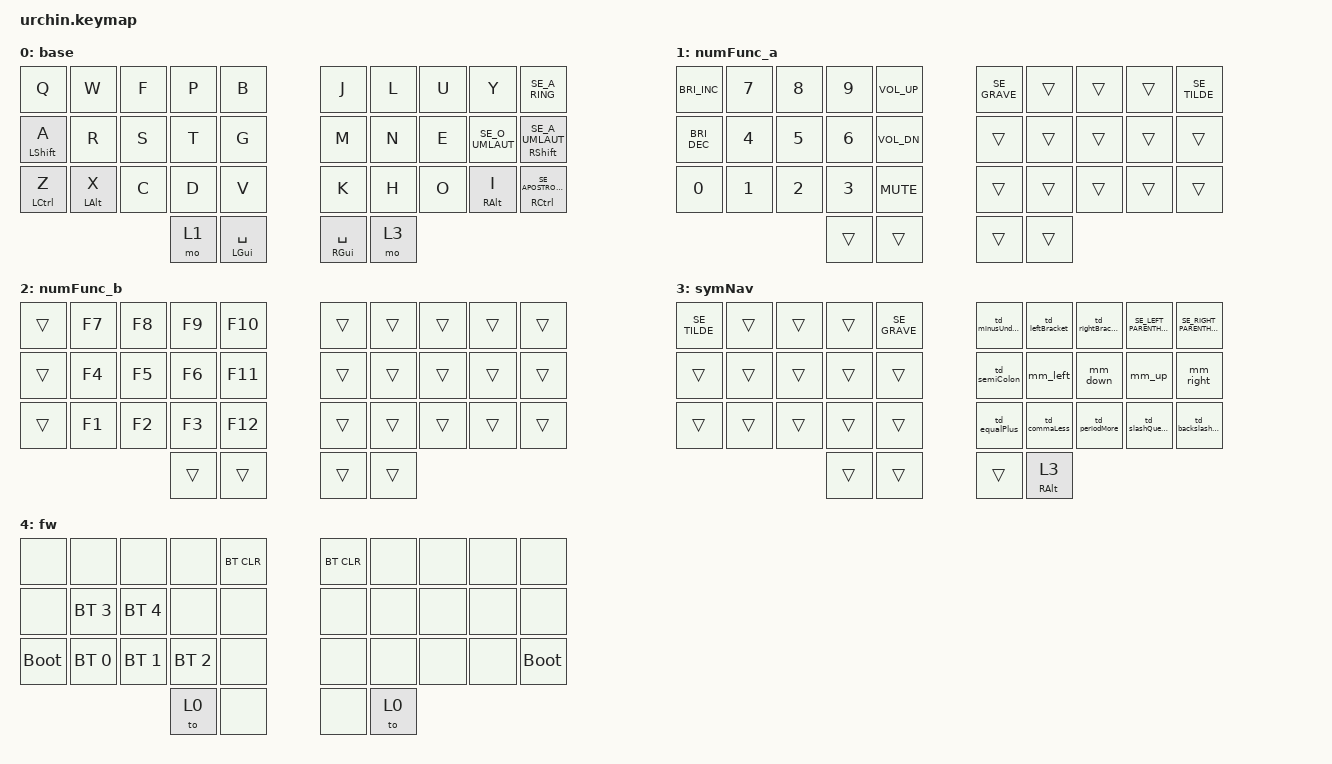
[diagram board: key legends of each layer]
/*
 * Copyright (c) 2020 duckyb
 *
 * SPDX-License-Identifier: MIT
 */

#include <behaviors.dtsi>
#include <dt-bindings/zmk/bt.h>
#include <dt-bindings/zmk/keys.h>
#include "keys_se.h"

// Layer definitions

#define BASE 0
#define SYM 1
#define EXT 2
#define FNC 3
#define SYM2 4
#define ACCENT 5
#define SETTINGS 6

// -----------------

&sk {
    // don't release mods on other mods presses

    ignore-modifiers;
};

&mt { flavor = "tap-preferred"; };

/ {
    behaviors {
        // Enables holding the first mod-tap key
        // by performing a tap-release-hold sequence.
        // To use it: "&qt KEYCODE1 KEYCODE2"

        qt: quick_tap {
            compatible = "zmk,behavior-hold-tap";
            label = "QUICK_TAP";
            #binding-cells = <2>;
            flavor = "hold-preferred";
            tapping-term-ms = <200>;
            quick-tap-ms = <200>;
            bindings = <&kp>, <&kp>;
        };

        ht_modsRight: ht_modsRight {
            compatible = "zmk,behavior-hold-tap";
            label = "HT_MODSRIGHT";
            bindings = <&kp>, <&kp>;

            #binding-cells = <2>;
            tapping-term-ms = <280>;
            quick-tap-ms = <175>;
            flavor = "balanced";
            hold-trigger-key-positions = <0 1 2 3 4 10 11 12 13 14 20 21 22 23 24 31 32>;
            hold-trigger-on-release;
            require-prior-idle-ms = <150>;
        };

        ht_modsLeft: ht_modsLeft {
            compatible = "zmk,behavior-hold-tap";
            label = "HT_MODSLEFT";
            bindings = <&kp>, <&kp>;

            #binding-cells = <2>;
            tapping-term-ms = <280>;
            quick-tap-ms = <175>;
            flavor = "balanced";
            hold-trigger-key-positions = <5 6 7 8 9 15 16 17 18 19 25 26 27 28 29 32 31>;
            hold-trigger-on-release;
            require-prior-idle-ms = <150>;
        };

        mm_left: mm_left {
            compatible = "zmk,behavior-mod-morph";
            label = "MM_LEFT";
            bindings = <&kp LEFT>, <&kp HOME>;

            #binding-cells = <0>;
            mods = <(MOD_RALT)>;
        };

        mm_down: mm_down {
            compatible = "zmk,behavior-mod-morph";
            label = "MM_DOWN";
            bindings = <&kp DOWN>, <&kp PG_DN>;

            #binding-cells = <0>;
            mods = <(MOD_RALT)>;
        };

        mm_up: mm_up {
            compatible = "zmk,behavior-mod-morph";
            label = "MM_UP";
            bindings = <&kp UP>, <&kp PG_UP>;

            #binding-cells = <0>;
            mods = <(MOD_RALT)>;
        };

        mm_right: mm_right {
            compatible = "zmk,behavior-mod-morph";
            label = "MM_RIGHT";
            bindings = <&kp RIGHT>, <&kp END>;

            #binding-cells = <0>;
            mods = <(MOD_RALT)>;
        };

        ht_kp_tog: ht_kp_tog {
            compatible = "zmk,behavior-hold-tap";
            label = "HT_KP_TOG";
            #binding-cells = <2>;
            bindings = <&kp>, <&tog>;

            tapping-term-ms = <250>;
        };

        ht_mo_tog: ht_mo_tog {
            compatible = "zmk,behavior-hold-tap";
            label = "HT_MO_TOG";
            bindings = <&mo>, <&tog>;

            #binding-cells = <2>;
            tapping-term-ms = <200>;
            flavor = "balanced";
        };

        ht_mods: ht_mods {
            compatible = "zmk,behavior-hold-tap";
            label = "HT_MODS";
            bindings = <&kp>, <&kp>;

            #binding-cells = <2>;
            tapping-term-ms = <280>;
            quick-tap-ms = <175>;
            flavor = "balanced";
            hold-trigger-key-positions = <0 1 2 3 4 10 11 12 13 14 20 21 22 23 24 25 15 5 6 7 8 9 16 17 18 19 26 27 28 29>;
            hold-trigger-on-release;
            require-prior-idle-ms = <150>;
        };

        td_semiColon: td_semiColon {
            compatible = "zmk,behavior-tap-dance";
            label = "TD_SEMICOLON";
            #binding-cells = <0>;
            bindings = <&kp SE_SEMI>, <&kp SE_COLON>;

            tapping-term-ms = <250>;
        };

        td_slashQuestion: td_slashQuestion {
            compatible = "zmk,behavior-tap-dance";
            label = "TD_SLASHQUESTION";
            #binding-cells = <0>;
            bindings = <&kp SE_SLASH>, <&kp SE_QUESTION>;

            tapping-term-ms = <250>;
        };

        td_leftBracket: td_leftBracket {
            compatible = "zmk,behavior-tap-dance";
            label = "TD_LEFTBRACKET";
            #binding-cells = <0>;
            bindings = <&kp SE_LEFT_BRACKET>, <&kp SE_LEFT_BRACE>;

            tapping-term-ms = <250>;
        };

        td_rightBracket: td_rightBracket {
            compatible = "zmk,behavior-tap-dance";
            label = "TD_RIGHTBRACKET";
            #binding-cells = <0>;
            bindings = <&kp SE_RIGHT_BRACKET>, <&kp SE_RIGHT_BRACE>;

            tapping-term-ms = <250>;
        };

        td_minusUnderscore: td_minusUnderscore {
            compatible = "zmk,behavior-tap-dance";
            label = "TD_MINUSUNDERSCORE";
            #binding-cells = <0>;
            bindings = <&kp SE_MINUS>, <&kp SE_UNDER>;

            tapping-term-ms = <250>;
        };

        td_equalPlus: td_equalPlus {
            compatible = "zmk,behavior-tap-dance";
            label = "TD_EQUALPLUS";
            #binding-cells = <0>;
            bindings = <&kp SE_EQUAL>, <&kp SE_PLUS>;

            tapping-term-ms = <250>;
        };

        td_commaLess: td_commaLess {
            compatible = "zmk,behavior-tap-dance";
            label = "TD_COMMALESS";
            #binding-cells = <0>;
            bindings = <&kp SE_COMMA>, <&kp SE_LT>;

            tapping-term-ms = <250>;
        };

        td_periodMore: td_periodMore {
            compatible = "zmk,behavior-tap-dance";
            label = "TD_PERIODMORE";
            #binding-cells = <0>;
            bindings = <&kp SE_PERIOD>, <&kp RS(SE_GREATER_THAN)>;

            tapping-term-ms = <250>;
        };

        td_backslashPipe: td_backslashPipe {
            compatible = "zmk,behavior-tap-dance";
            label = "TD_BACKSLASHPIPE";
            #binding-cells = <0>;
            bindings = <&kp SE_BSLH>, <&kp SE_PIPE>;

            tapping-term-ms = <250>;
        };
    };

    macros {
        // sometimes my device thinks a modifier is being held down
        // pressing all modifiers fixes it.

        unstick: unstick {
            label = "ZM_unstick";
            compatible = "zmk,behavior-macro";
            #binding-cells = <0>;
            bindings = <&kp LSHIFT &kp RSHIFT &kp LCTRL &kp RCTRL &kp LALT &kp RALT &kp LGUI &kp RGUI>;
        };
    };

    combos {
        compatible = "zmk,combos";

        // both right thumb keys
        // internal-left & external-right thumb keys
        // both left thumb keys
        // left index & middle fingers (home-row)
        // hold control & space for Adobe workflow

        c_fw {
            bindings = <&sl 4>;
            key-positions = <0 24>;
        };

        c_enter_r {
            bindings = <&kp ENTER>;
            key-positions = <27 26>;
            timeout-ms = <50>;
        };

        c_enter_l {
            bindings = <&kp ENTER>;
            key-positions = <23 22>;
            timeout-ms = <50>;
        };

        c_backspace_r {
            bindings = <&kp BACKSPACE>;
            key-positions = <7 6>;
            timeout-ms = <100>;
        };

        c_backspace_l {
            bindings = <&kp BACKSPACE>;
            key-positions = <2 3>;
            timeout-ms = <100>;
        };

        c_delete_r {
            bindings = <&kp DELETE>;
            key-positions = <7 8>;
            timeout-ms = <100>;
        };

        c_delete_l {
            bindings = <&kp DELETE>;
            key-positions = <2 1>;
            timeout-ms = <100>;
        };

        c_esc_r {
            bindings = <&kp ESC>;
            key-positions = <9 8>;
            timeout-ms = <100>;
        };

        c_esc_l {
            bindings = <&kp ESC>;
            key-positions = <0 1>;
            timeout-ms = <100>;
        };

        c_tab_r {
            bindings = <&kp TAB>;
            key-positions = <5 6>;
            timeout-ms = <100>;
        };

        c_tab_l {
            bindings = <&kp TAB>;
            key-positions = <3 4>;
            timeout-ms = <100>;
        };

        c_capsword_r {
            bindings = <&caps_word>;
            key-positions = <19 18>;
            timeout-ms = <50>;
        };

        c_capsword_l {
            bindings = <&caps_word>;
            key-positions = <10 11>;
            timeout-ms = <50>;
        };

        c_tilde_r {
            bindings = <&kp GRAVE>;
            key-positions = <29 28>;
            timeout-ms = <100>;
        };

        c_tilde_l {
            bindings = <&kp GRAVE>;
            key-positions = <20 21>;
            timeout-ms = <100>;
        };

        c_comma {
            bindings = <&kp COMMA>;
            key-positions = <26 32>;
            timeout-ms = <75>;
        };

        c_period {
            bindings = <&kp PERIOD>;
            key-positions = <27 32>;
            timeout-ms = <75>;
        };

        c_compose {
            bindings = <&kp C_MENU>;
            key-positions = <9 32>;
            timeout-ms = <300>;
        };

        c_slash {
            bindings = <&kp SLASH>;
            key-positions = <32 28>;
        };

        c_play-pause {
            bindings = <&kp C_PLAY_PAUSE>;
            key-positions = <31 22>;
        };

        c_next {
            bindings = <&kp C_NEXT>;
            key-positions = <31 23>;
        };

        c_prev {
            bindings = <&kp C_PREV>;
            key-positions = <21 31>;
        };
    };

    keymap {
        compatible = "zmk,keymap";

        // Base alpha layer

        base {
            bindings = <
&kp Q                  &kp W                &kp F  &kp P  &kp B                &kp J                &kp L  &kp U  &kp Y                 &kp SE_A_RING
&ht_modsLeft LSHIFT A  &kp R                &kp S  &kp T  &kp G                &kp M                &kp N  &kp E  &kp SE_O_UMLAUT       &ht_modsRight RSHIFT SE_A_UMLAUT
&ht_modsLeft LCTRL Z   &ht_modsLeft LALT X  &kp C  &kp D  &kp V                &kp K                &kp H  &kp O  &ht_modsRight RALT I  &ht_modsRight RCTRL SE_APOSTROPHE
                                                   &mo 1  &ht_mods LGUI SPACE  &ht_mods RGUI SPACE  &mo 3
            >;
        };

        numFunc_a {
            bindings = <
&kp C_BRIGHTNESS_INC  &kp N7  &kp N8  &kp N9  &kp C_VOL_UP  &kp SE_GRAVE  &trans  &trans  &trans  &kp SE_TILDE
&kp C_BRIGHTNESS_DEC  &kp N4  &kp N5  &kp N6  &kp C_VOL_DN  &trans        &trans  &trans  &trans  &trans
&kp N0                &kp N1  &kp N2  &kp N3  &kp C_MUTE    &trans        &trans  &trans  &trans  &trans
                                      &trans  &trans        &trans        &trans
            >;
        };

        numFunc_b {
            bindings = <
&trans  &kp F7  &kp F8  &kp F9  &kp F10  &trans  &trans  &trans  &trans  &trans
&trans  &kp F4  &kp F5  &kp F6  &kp F11  &trans  &trans  &trans  &trans  &trans
&trans  &kp F1  &kp F2  &kp F3  &kp F12  &trans  &trans  &trans  &trans  &trans
                        &trans  &trans   &trans  &trans
            >;
        };

        symNav {
            bindings = <
&kp SE_TILDE  &trans  &trans  &trans  &kp SE_GRAVE  &td_minusUnderscore  &td_leftBracket    &td_rightBracket  &kp SE_LEFT_PARENTHESIS  &kp SE_RIGHT_PARENTHESIS
&trans        &trans  &trans  &trans  &trans        &td_semiColon        &mm_left           &mm_down          &mm_up                   &mm_right
&trans        &trans  &trans  &trans  &trans        &td_equalPlus        &td_commaLess      &td_periodMore    &td_slashQuestion        &td_backslashPipe
                              &trans  &trans        &trans               &ht_kp_tog RALT 3
            >;
        };

        fw {
            bindings = <
&none        &none         &none         &none         &bt BT_CLR  &bt BT_CLR  &none  &none  &none  &none
&none        &bt BT_SEL 3  &bt BT_SEL 4  &none         &none       &none       &none  &none  &none  &none
&bootloader  &bt BT_SEL 0  &bt BT_SEL 1  &bt BT_SEL 2  &none       &none       &none  &none  &none  &bootloader
                                         &to 0         &none       &none       &to 0
            >;
        };
    };

    conditional_layers { compatible = "zmk,conditional-layers"; };
};
